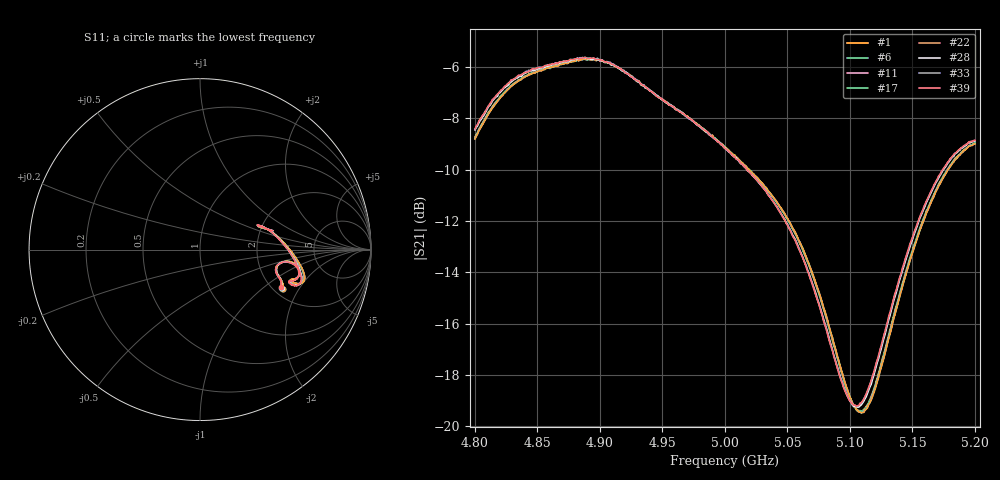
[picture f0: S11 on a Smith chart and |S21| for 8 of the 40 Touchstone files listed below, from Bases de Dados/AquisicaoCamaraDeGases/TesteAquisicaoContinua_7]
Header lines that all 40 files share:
! Network Analyzer HP8722D
! Hewlett-Packard
! Data name: Linha & Wilkinson
! Saver's name: Rodrigo Anjos
! Comments: Teste da utilização de aquisição
! continua pelo VNA HP8722D
!  Frequency  S11  S21  S12  S22
# HZ  S  MA R 50
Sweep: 4.8 GHz to 5.2 GHz
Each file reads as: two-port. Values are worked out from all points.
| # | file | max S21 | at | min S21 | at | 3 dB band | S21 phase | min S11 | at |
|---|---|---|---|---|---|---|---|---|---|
| 1 | teste_arseco&ACE_0-70_200.S2P | -5.68 dB | 4.891 GHz | -19.4 dB | 5.109 GHz | 4.801 GHz-4.988 GHz | 147 deg at 5 GHz | -8.8 dB | 5.167 GHz |
| 2 | teste_arseco&ACE_0-70_201.S2P | -5.67 dB | 4.895 GHz | -19.4 dB | 5.109 GHz | 4.801 GHz-4.988 GHz | 148 deg at 5 GHz | -8.8 dB | 5.167 GHz |
| 3 | teste_arseco&ACE_0-70_202.S2P | -5.69 dB | 4.887 GHz | -19.4 dB | 5.109 GHz | 4.801 GHz-4.988 GHz | 147 deg at 5 GHz | -8.8 dB | 5.172 GHz |
| 4 | teste_arseco&ACE_0-70_203.S2P | -5.68 dB | 4.887 GHz | -19.4 dB | 5.109 GHz | 4.801 GHz-4.988 GHz | 148 deg at 5 GHz | -8.8 dB | 5.172 GHz |
| 5 | teste_arseco&ACE_0-70_204.S2P | -5.69 dB | 4.886 GHz | -19.4 dB | 5.11 GHz | 4.801 GHz-4.989 GHz | 148 deg at 5 GHz | -8.8 dB | 5.17 GHz |
| 6 | teste_arseco&ACE_0-70_205.S2P | -5.68 dB | 4.892 GHz | -19.4 dB | 5.109 GHz | 4.801 GHz-4.989 GHz | 148 deg at 5 GHz | -8.8 dB | 5.168 GHz |
| 7 | teste_arseco&ACE_0-70_206.S2P | -5.68 dB | 4.892 GHz | -19.4 dB | 5.109 GHz | 4.801 GHz-4.988 GHz | 147 deg at 5 GHz | -8.8 dB | 5.172 GHz |
| 8 | teste_arseco&ACE_0-70_207.S2P | -5.68 dB | 4.887 GHz | -19.4 dB | 5.109 GHz | 4.801 GHz-4.988 GHz | 148 deg at 5 GHz | -8.8 dB | 5.168 GHz |
| 9 | teste_arseco&ACE_0-70_208.S2P | -5.68 dB | 4.887 GHz | -19.4 dB | 5.109 GHz | 4.802 GHz-4.99 GHz | 148 deg at 5 GHz | -8.8 dB | 5.172 GHz |
| 10 | teste_arseco&ACE_0-70_209.S2P | -5.69 dB | 4.888 GHz | -19.4 dB | 5.107 GHz | 4.802 GHz-4.989 GHz | 148 deg at 5 GHz | -8.8 dB | 5.172 GHz |
| 11 | teste_arseco&ACE_0-70_210.S2P | -5.68 dB | 4.887 GHz | -19.5 dB | 5.109 GHz | 4.802 GHz-4.988 GHz | 148 deg at 5 GHz | -8.8 dB | 5.172 GHz |
| 12 | teste_arseco&ACE_0-70_211.S2P | -5.69 dB | 4.887 GHz | -19.5 dB | 5.109 GHz | 4.801 GHz-4.989 GHz | 148 deg at 5 GHz | -8.8 dB | 5.167 GHz |
| 13 | teste_arseco&ACE_0-70_212.S2P | -5.70 dB | 4.895 GHz | -19.5 dB | 5.109 GHz | 4.801 GHz-4.99 GHz | 148 deg at 5 GHz | -8.8 dB | 5.172 GHz |
| 14 | teste_arseco&ACE_0-70_213.S2P | -5.69 dB | 4.888 GHz | -19.5 dB | 5.11 GHz | 4.802 GHz-4.989 GHz | 148 deg at 5 GHz | -8.8 dB | 5.167 GHz |
| 15 | teste_arseco&ACE_0-70_214.S2P | -5.69 dB | 4.887 GHz | -19.5 dB | 5.109 GHz | 4.802 GHz-4.99 GHz | 148 deg at 5 GHz | -8.8 dB | 5.172 GHz |
| 16 | teste_arseco&ACE_0-70_215.S2P | -5.69 dB | 4.888 GHz | -19.5 dB | 5.109 GHz | 4.802 GHz-4.989 GHz | 148 deg at 5 GHz | -8.8 dB | 5.172 GHz |
| 17 | teste_arseco&ACE_0-70_216.S2P | -5.70 dB | 4.893 GHz | -19.5 dB | 5.109 GHz | 4.802 GHz-4.99 GHz | 148 deg at 5 GHz | -8.8 dB | 5.17 GHz |
| 18 | teste_arseco&ACE_0-70_217.S2P | -5.68 dB | 4.895 GHz | -19.5 dB | 5.11 GHz | 4.802 GHz-4.988 GHz | 148 deg at 5 GHz | -8.8 dB | 5.167 GHz |
| 19 | teste_arseco&ACE_0-70_218.S2P | -5.69 dB | 4.893 GHz | -19.5 dB | 5.111 GHz | 4.802 GHz-4.988 GHz | 148 deg at 5 GHz | -8.8 dB | 5.167 GHz |
| 20 | teste_arseco&ACE_0-70_219.S2P | -5.71 dB | 4.891 GHz | -19.4 dB | 5.109 GHz | 4.802 GHz-4.99 GHz | 148 deg at 5 GHz | -8.8 dB | 5.172 GHz |
| 21 | teste_arseco&ACE_0-70_220.S2P | -5.69 dB | 4.889 GHz | -19.5 dB | 5.109 GHz | 4.802 GHz-4.989 GHz | 148 deg at 5 GHz | -8.8 dB | 5.172 GHz |
| 22 | teste_arseco&ACE_0-70_221.S2P | -5.69 dB | 4.888 GHz | -19.5 dB | 5.109 GHz | 4.802 GHz-4.99 GHz | 148 deg at 5 GHz | -8.8 dB | 5.167 GHz |
| 23 | teste_arseco&ACE_0-70_222.S2P | -5.67 dB | 4.888 GHz | -19.5 dB | 5.109 GHz | 4.802 GHz-4.988 GHz | 148 deg at 5 GHz | -8.8 dB | 5.17 GHz |
| 24 | teste_arseco&ACE_0-70_223.S2P | -5.69 dB | 4.895 GHz | -19.5 dB | 5.109 GHz | 4.802 GHz-4.989 GHz | 148 deg at 5 GHz | -8.8 dB | 5.167 GHz |
| 25 | teste_arseco&ACE_0-70_224.S2P | -5.69 dB | 4.887 GHz | -19.4 dB | 5.108 GHz | 4.8 GHz-4.988 GHz | 147 deg at 5 GHz | -8.7 dB | 5.172 GHz |
| 26 | teste_arseco&ACE_0-70_225.S2P | -5.68 dB | 4.886 GHz | -19.3 dB | 5.107 GHz | 4.8 GHz-4.987 GHz | 147 deg at 5 GHz | -8.8 dB | 5.167 GHz |
| 27 | teste_arseco&ACE_0-70_226.S2P | -5.65 dB | 4.888 GHz | -19.3 dB | 5.107 GHz | 4.8 GHz-4.987 GHz | 146 deg at 5 GHz | -8.8 dB | 5.167 GHz |
| 28 | teste_arseco&ACE_0-70_227.S2P | -5.64 dB | 4.888 GHz | -19.2 dB | 5.107 GHz | 4.8 GHz-4.987 GHz | 146 deg at 5 GHz | -8.8 dB | 5.167 GHz |
| 29 | teste_arseco&ACE_0-70_228.S2P | -5.63 dB | 4.888 GHz | -19.3 dB | 5.105 GHz | 4.8 GHz-4.987 GHz | 146 deg at 5 GHz | -8.8 dB | 5.167 GHz |
| 30 | teste_arseco&ACE_0-70_229.S2P | -5.63 dB | 4.887 GHz | -19.2 dB | 5.105 GHz | 4.8 GHz-4.987 GHz | 146 deg at 5 GHz | -8.8 dB | 5.167 GHz |
| 31 | teste_arseco&ACE_0-70_230.S2P | -5.65 dB | 4.889 GHz | -19.2 dB | 5.105 GHz | 4.8 GHz-4.987 GHz | 146 deg at 5 GHz | -8.8 dB | 5.167 GHz |
| 32 | teste_arseco&ACE_0-70_231.S2P | -5.64 dB | 4.885 GHz | -19.2 dB | 5.105 GHz | 4.8 GHz-4.987 GHz | 146 deg at 5 GHz | -8.8 dB | 5.167 GHz |
| 33 | teste_arseco&ACE_0-70_232.S2P | -5.63 dB | 4.886 GHz | -19.2 dB | 5.105 GHz | 4.8 GHz-4.987 GHz | 146 deg at 5 GHz | -8.8 dB | 5.167 GHz |
| 34 | teste_arseco&ACE_0-70_233.S2P | -5.63 dB | 4.89 GHz | -19.2 dB | 5.105 GHz | 4.8 GHz-4.987 GHz | 146 deg at 5 GHz | -8.8 dB | 5.167 GHz |
| 35 | teste_arseco&ACE_0-70_234.S2P | -5.65 dB | 4.887 GHz | -19.2 dB | 5.106 GHz | 4.8 GHz-4.988 GHz | 146 deg at 5 GHz | -8.8 dB | 5.167 GHz |
| 36 | teste_arseco&ACE_0-70_235.S2P | -5.65 dB | 4.881 GHz | -19.2 dB | 5.106 GHz | 4.8 GHz-4.988 GHz | 146 deg at 5 GHz | -8.8 dB | 5.167 GHz |
| 37 | teste_arseco&ACE_0-70_236.S2P | -5.64 dB | 4.887 GHz | -19.2 dB | 5.105 GHz | 4.8 GHz-4.987 GHz | 146 deg at 5 GHz | -8.8 dB | 5.167 GHz |
| 38 | teste_arseco&ACE_0-70_237.S2P | -5.61 dB | 4.888 GHz | -19.2 dB | 5.105 GHz | 4.8 GHz-4.987 GHz | 146 deg at 5 GHz | -8.8 dB | 5.167 GHz |
| 39 | teste_arseco&ACE_0-70_238.S2P | -5.63 dB | 4.888 GHz | -19.2 dB | 5.105 GHz | 4.8 GHz-4.987 GHz | 146 deg at 5 GHz | -8.8 dB | 5.167 GHz |
| 40 | teste_arseco&ACE_0-70_239.S2P | -5.63 dB | 4.887 GHz | -19.2 dB | 5.105 GHz | 4.8 GHz-4.987 GHz | 146 deg at 5 GHz | -8.8 dB | 5.167 GHz |
